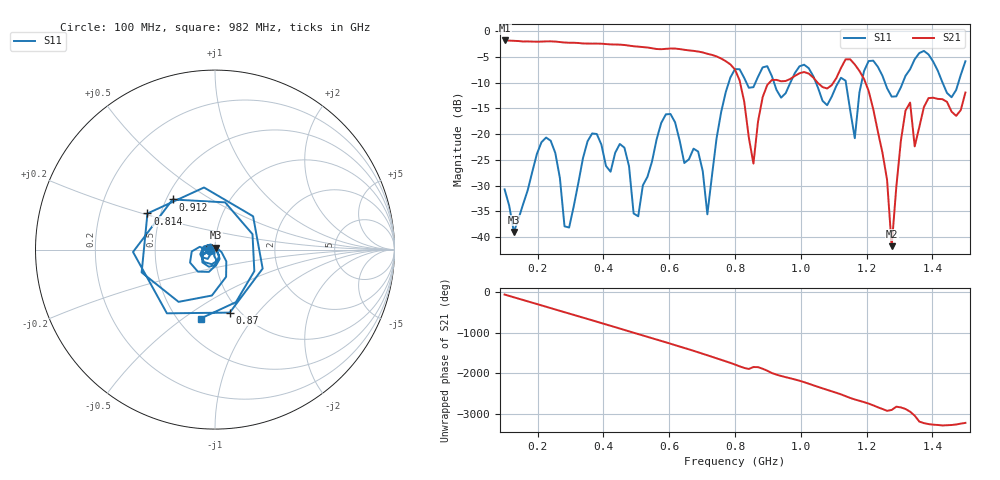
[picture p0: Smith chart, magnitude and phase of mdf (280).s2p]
! NanoVNA-App
! Date: 2025-09-25 15:40:36
! Start: 100MHz Stop: 1,5GHz Points: 101
! S-Parameter data: F S11 S21 S12 S22
# Hz S RI R 50
!  Frequency  S11_Real  S11_Imag  S21_Real  S21_Imag  S12_Real  S12_Imag  S22_Real  S22_Imag
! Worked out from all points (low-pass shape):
!   101 points, 100 MHz to 1.5 GHz, reference 50 ohm
!   highest |S21| = -1.80 dB at 100 MHz (marker M1); lowest = -41.8 dB at 1.276 GHz (marker M2)
!   |S21| within 3 dB of the highest: start of sweep to 739.2 MHz
!   lowest |S11| = -39.0 dB at 128 MHz (marker M3), VSWR 1.02, Z = 50.3 + j1.07 ohm
!   |S11| at or under -10 dB: start of sweep to 781 MHz; 918.6 MHz to 968.2 MHz (49.58 MHz wide, 5.25 % of centre); 1.046 GHz to 1.114 GHz (67.71 MHz wide, 6.27 % of centre) (the widest 3 of 7)
!   S12 and S22 are empty: the file has one direction only
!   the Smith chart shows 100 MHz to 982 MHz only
!   S11 on the Smith chart (normalised r, x): 100 MHz: 0.94, -0.01; 814 MHz: 0.42, +0.21; 870 MHz: 0.90, -0.73; 912 MHz: 0.54, +0.35; 982 MHz: 0.64, -0.58
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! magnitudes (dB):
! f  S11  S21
! 100 MHz  -30.7  -1.8
! 128 MHz  -39.0  -1.9
! 212 MHz  -21.6  -2.0
! 282 MHz  -37.9  -2.2
! 338 MHz  -24.7  -2.4
! 464 MHz  -22.6  -2.7
! 506 MHz  -36.0  -3.0
! 576 MHz  -17.8  -3.5
! 688 MHz  -23.4  -4.0
! 716 MHz  -35.6  -4.4
! 800 MHz  -7.4  -7.5
! 814 MHz  -7.4  -9.6
! 856 MHz  -10.9  -25.7
! 870 MHz  -8.9  -17.5
! 912 MHz  -8.7  -9.5
! 982 MHz  -8.1  -8.7
! 1.038 GHz  -8.8  -9.0
! 1.164 GHz  -20.8  -6.5
! 1.192 GHz  -7.8  -9.3
! 1.276 GHz  -12.7  -41.8
! 1.318 GHz  -8.7  -15.4
! 1.5 GHz  -5.9  -11.9
